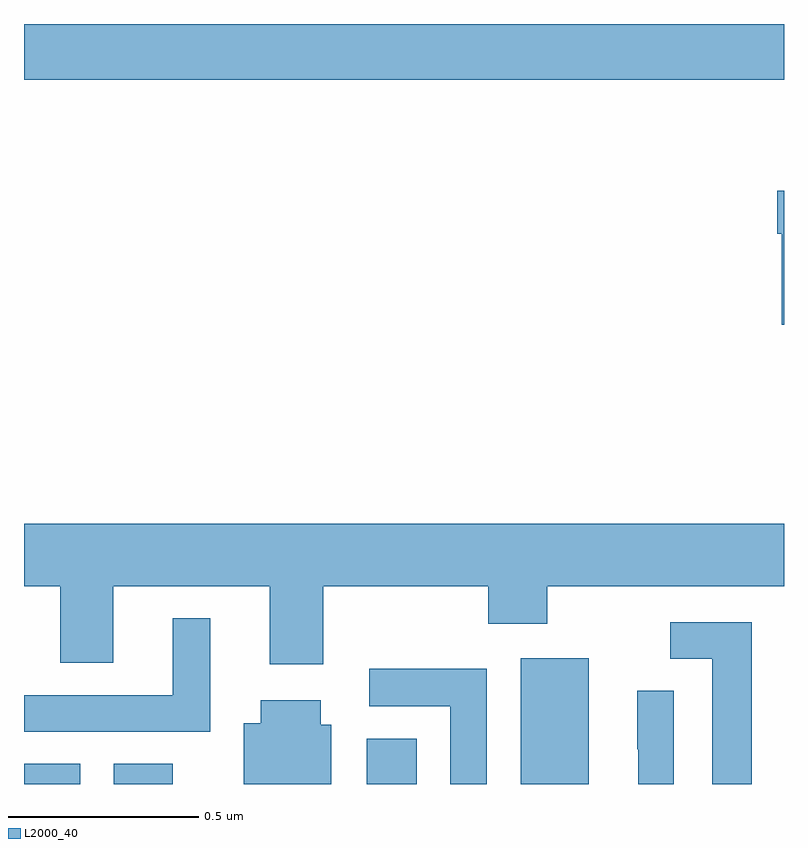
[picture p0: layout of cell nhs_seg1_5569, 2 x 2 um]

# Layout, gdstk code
import gdstk
lib = gdstk.Library(unit=1e-6, precision=1e-09)
def R(c, l, rs):  # rectangles x0, y0, x1, y1
    for r in rs: c.add(gdstk.rectangle(r[:2], r[2:], *l))
def P(c, l, *ps):  # polygons
    for p in ps: c.add(gdstk.Polygon(p, *l))
L2000_40 = (2000, 40)

nhs_seg1_5569 = lib.new_cell('nhs_seg1_5569')
R(nhs_seg1_5569, L2000_40, [(180,563.199,180.148,563.252), (180.236,563.199,180.391,563.252), (180.902,563.199,181.033,563.318), (181.307,563.199,181.486,563.53), (180,565.052,182,565.199)])
P(nhs_seg1_5569, L2000_40, [(182,564.76),(181.982,564.76),(181.982,564.647),(181.994,564.647),(181.994,564.407),(182,564.407)],
  [(180.787,563.72),(181.222,563.72),(181.222,563.621),(181.377,563.621),(181.377,563.72),(182,563.72),(182,563.884),(180,563.884),(180,563.72),(180.095,563.72),(180.095,563.518),(180.235,563.518),(180.235,563.72),(180.647,563.72),(180.647,563.514),(180.787,563.514)],
  [(180.49,563.635),(180.392,563.635),(180.392,563.433),(180,563.433),(180,563.337),(180.49,563.337)],
  [(181.915,563.625),(181.701,563.625),(181.701,563.529),(181.811,563.529),(181.811,563.199),(181.915,563.199)],
  [(181.218,563.502),(180.909,563.502),(180.909,563.403),(181.122,563.403),(181.122,563.199),(181.218,563.199)],
  [(181.71,563.444),(181.614,563.444),(181.614,563.29),(181.616,563.29),(181.616,563.199),(181.71,563.199)],
  [(180.808,563.355),(180.781,563.355),(180.781,563.419),(180.623,563.419),(180.623,563.359),(180.578,563.359),(180.578,563.199),(180.808,563.199)])

lib.write_gds('nhs_seg1_5569.gds')
